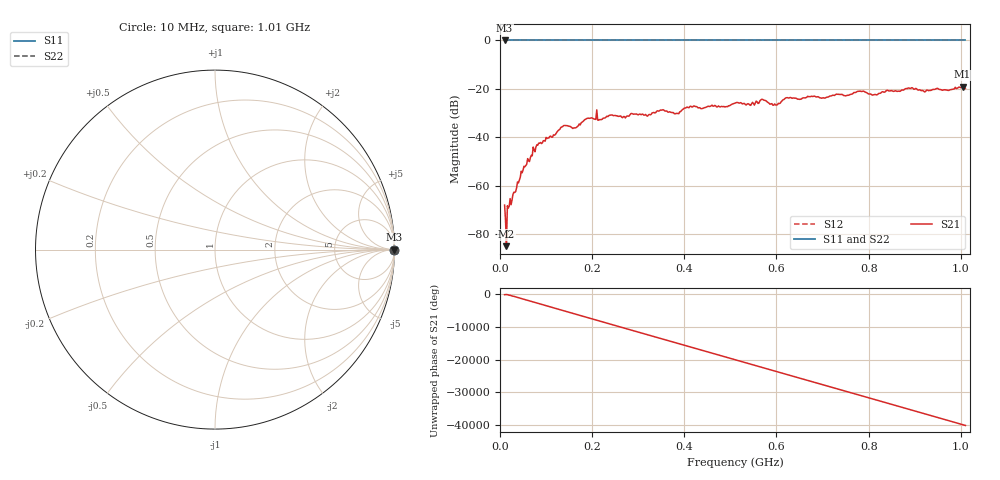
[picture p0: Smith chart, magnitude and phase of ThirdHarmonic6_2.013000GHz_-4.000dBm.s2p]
! 8/17/2025 12:10:09 AM
! C:\ANRITSUVNA\TEMP\TEMP.S2P
! CHANNEL.1
! TR.MEASUREMENT
! RAW.DATA
! RF.CORRECTION.OFF
! AVERAGING.OFF
! IF.BANDWIDTH: 5KHZ
! SWEEPTYPE:  FREQ.SWEEP(Linear)
! Reference Plane Port Info
! PORT:  PORT1  PORT2
! DISTANCE:  0  m  0  m
! TIME:  0  s  0  s
! PHASE.OFFSET:  0  deg.  0  deg.
! LOSS:  0  dB  0  dB
! REF.LOSS:  0  dB  0  dB
! REF.FREQ:  0  Hz  0  Hz
! Power Info
! POWER:  -20  dBm  -20  dBm
! EFF.POWER:  -20  dBm  -20  dBm
! SOURCE.ATTEN:  0  dB  0  dB
! TEST.ATTEN:  0  dB  0  dB
# GHZ S RI R 50.0
! FREQ.GHZ  S11RE  S11IM  S21RE  S21IM  S12RE  S12IM  S22RE  S22IM
!; PortSelection: Port_12
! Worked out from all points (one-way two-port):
!   501 points, 10 MHz to 1.01 GHz, reference 50 ohm
!   highest |S21| = -19.14 dB at 1.004 GHz (marker M1); lowest = -85.0 dB at 14 MHz (marker M2)
!   lowest |S11| = 0.0 dB at 10 MHz (marker M3)
!   |S11| at or under -10 dB: nowhere
!   |S22| runs from 0.0 to 0.0 dB; largest |S21 - S12| = 1.1
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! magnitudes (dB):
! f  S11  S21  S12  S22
! 10 MHz  0.0  -68.0  0.0  0.0
! 14 MHz  0.0  -85.0  0.0  0.0
! 50 MHz  0.0  -53.5  0.0  0.0
! 82 MHz  0.0  -43.2  0.0  0.0
! 136 MHz  0.0  -35.6  0.0  0.0
! 162 MHz  0.0  -36.1  0.0  0.0
! 178 MHz  0.0  -33.7  0.0  0.0
! 206 MHz  0.0  -32.5  0.0  0.0
! 322 MHz  0.0  -30.8  0.0  0.0
! 344 MHz  0.0  -29.2  0.0  0.0
! 384 MHz  0.0  -30.1  0.0  0.0
! 410 MHz  0.0  -27.8  0.0  0.0
! 510 MHz  0.0  -25.9  0.0  0.0
! 570 MHz  0.0  -24.4  0.0  0.0
! 598 MHz  0.0  -26.6  0.0  0.0
! 622 MHz  0.0  -23.6  0.0  0.0
! 678 MHz  0.0  -23.2  0.0  0.0
! 780 MHz  0.0  -21.0  0.0  0.0
! 814 MHz  0.0  -22.3  0.0  0.0
! 844 MHz  0.0  -20.9  0.0  0.0
! 1.004 GHz  0.0  -19.1  0.0  0.0
! 1.01 GHz  0.0  -19.9  0.0  0.0
